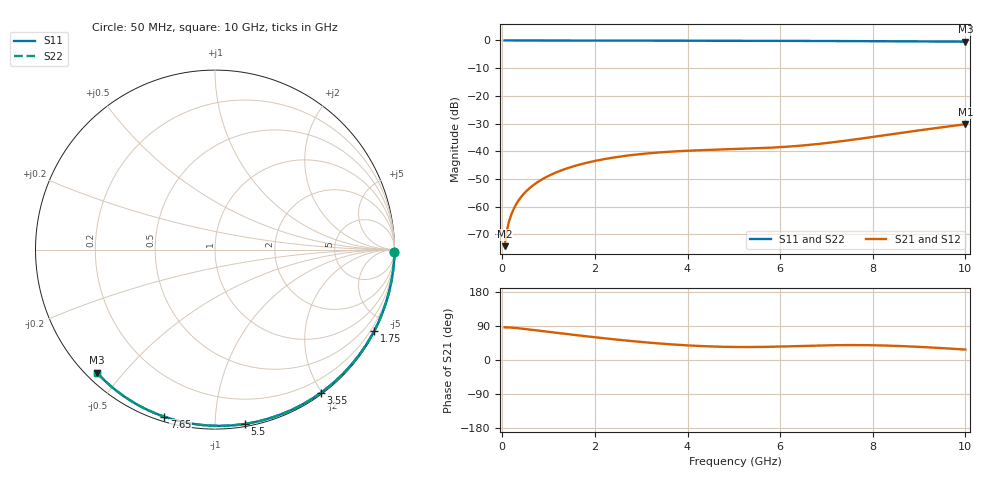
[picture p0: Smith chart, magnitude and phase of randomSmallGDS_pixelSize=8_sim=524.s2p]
! freq	dB(S11)	phase(S11)	dB(S12)	phase(S12)
!  dB(S21)	phase(S21)	dB(S22)	phase(S22)
!S-par simulation data
#  GHz  S  DB  R 50
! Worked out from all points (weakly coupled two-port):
!   200 points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, 50 MHz to 10 GHz, reference 50 ohm
!   highest |S21| = -30.24 dB at 10 GHz (marker M1); lowest = -74.3 dB at 50 MHz (marker M2)
!   lowest |S11| = -0.4 dB at 10 GHz (marker M3), VSWR 39.26, Z = 1.5 - j21.3 ohm
!   |S11| at or under -10 dB: nowhere
!   |S22| runs from -0.4 to 0.0 dB; largest |S21 - S12| = 0
!   S11 on the Smith chart (normalised r, x): 50 MHz: open; 1.75 GHz: 0.04, -4.15; 3.55 GHz: 0.02, -1.98; 5.5 GHz: 0.02, -1.19; 7.65 GHz: 0.02, -0.74; 10 GHz: 0.03, -0.43
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0.05  -0.00 -0.8  -74.26 86.1  -74.26 86.1  -0.00 -0.8
0.1  -0.00 -1.6  -68.50 86.1  -68.50 86.1  -0.00 -1.6
0.15  -0.00 -2.4  -65.06 85.9  -65.06 85.9  -0.00 -2.4
0.2  -0.00 -3.2  -62.60 85.5  -62.60 85.5  -0.00 -3.2
0.25  -0.00 -3.9  -60.68 85.0  -60.68 85.0  -0.00 -3.9
0.35  -0.00 -5.5  -57.79 83.8  -57.79 83.8  -0.00 -5.5
0.5  -0.01 -7.9  -54.73 81.7  -54.73 81.7  -0.01 -7.9
0.7  -0.01 -11.0  -51.86 78.8  -51.86 78.8  -0.01 -11.0
1  -0.02 -15.6  -48.87 74.3  -48.87 74.3  -0.02 -15.6
1.35  -0.03 -21.0  -46.44 69.2  -46.44 69.2  -0.03 -21.0
1.75  -0.03 -27.1  -44.45 63.4  -44.45 63.4  -0.03 -27.1
2.5  -0.05 -38.4  -42.02 53.5  -42.02 53.5  -0.05 -38.4
3.4  -0.07 -51.5  -40.41 43.5  -40.41 43.5  -0.07 -51.5
3.55  -0.07 -53.6  -40.23 42.1  -40.23 42.1  -0.07 -53.7
4.3  -0.09 -64.2  -39.60 36.7  -39.60 36.7  -0.09 -64.2
5.05  -0.11 -74.3  -39.20 34.3  -39.20 34.3  -0.11 -74.3
5.5  -0.13 -80.2  -38.94 34.3  -38.94 34.3  -0.13 -80.2
6.7  -0.18 -95.4  -37.57 37.8  -37.57 37.8  -0.18 -95.4
7.65  -0.24 -106.9  -35.64 39.4  -35.64 39.4  -0.24 -106.9
8.35  -0.29 -115.1  -33.99 37.9  -33.99 37.9  -0.29 -115.1
9.2  -0.36 -124.8  -32.00 33.4  -32.00 33.4  -0.36 -124.8
10  -0.44 -133.8  -30.24 27.5  -30.24 27.5  -0.44 -133.8
